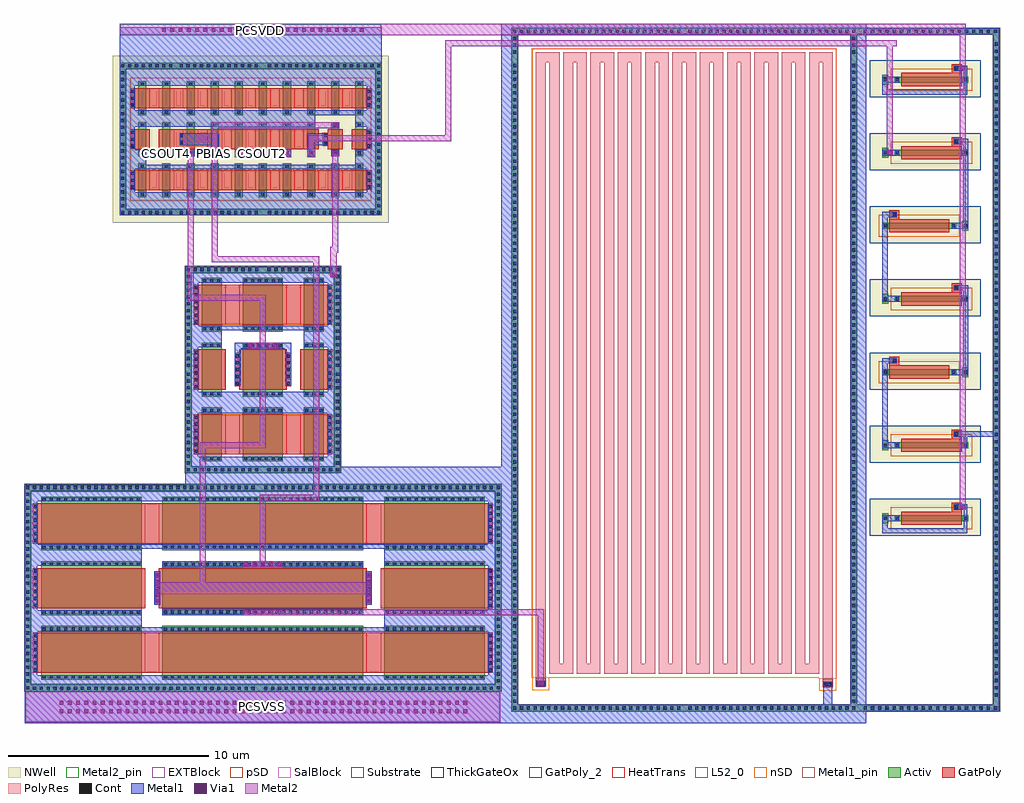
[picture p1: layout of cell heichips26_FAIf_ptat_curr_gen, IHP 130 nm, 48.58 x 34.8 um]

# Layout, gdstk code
from math import pi, radians
import gdstk
lib = gdstk.Library(unit=1e-6, precision=1e-09)
def R(c, l, rs):  # rectangles x0, y0, x1, y1
    for r in rs: c.add(gdstk.rectangle(r[:2], r[2:], *l))
def A(c, l, x, y, w, h, nx, ny, dx, dy):  # array of equal rectangles
    R(c, l, [(x+i*dx, y+j*dy, x+i*dx+w, y+j*dy+h) for i in range(nx) for j in range(ny)])
def P(c, l, *ps):  # polygons
    for p in ps: c.add(gdstk.Polygon(p, *l))
Activ = (1, 0)
GatPoly = (5, 0)
GatPoly_2 = (5, 2)
Cont = (6, 0)
nSD = (7, 0)
Metal1 = (8, 0)
Metal1_pin = (8, 2)
Metal2 = (10, 0)
Metal2_pin = (10, 2)
pSD = (14, 0)
Via1 = (19, 0)
SalBlock = (28, 0)
NWell = (31, 0)
Substrate = (40, 0)
ThickGateOx = (44, 0)
HeatTrans = (51, 0)
L52_0 = (52, 0)
EXTBlock = (111, 0)
PolyRes = (128, 0)

heichips26_faif_ptat_pmo = lib.new_cell('heichips26_FAIf_ptat_pmosHV_w0p3_l3')
R(heichips26_faif_ptat_pmo, Activ, [(0,0,0.3,0.3), (0,0,3.68,0.3), (3.38,0,3.68,0.3)])
R(heichips26_faif_ptat_pmo, GatPoly, [(0.34,-0.18,3.34,0.48)])
R(heichips26_faif_ptat_pmo, GatPoly_2, [(0.34,-0.18,3.34,0.48)])
R(heichips26_faif_ptat_pmo, Cont, [(0.07,0.07,0.23,0.23), (3.45,0.07,3.61,0.23)])
R(heichips26_faif_ptat_pmo, Metal1, [(0.07,0,0.23,0.3), (3.45,0,3.61,0.3)])
R(heichips26_faif_ptat_pmo, Metal1_pin, [(0.07,0,0.23,0.3), (3.45,0,3.61,0.3)])
R(heichips26_faif_ptat_pmo, pSD, [(-0.18,-0.4,3.86,0.7)])
R(heichips26_faif_ptat_pmo, NWell, [(-0.62,-0.62,4.3,0.92)])
R(heichips26_faif_ptat_pmo, Substrate, [(3.38,0,3.68,0.3)])
R(heichips26_faif_ptat_pmo, ThickGateOx, [(-0.62,-0.62,4.3,0.92)])
R(heichips26_faif_ptat_pmo, HeatTrans, [(0.34,-0.18,3.34,0.48)])
heichips26_faif_ptat_pmo.add(gdstk.Label('pmosHV', (1.84,0.15), layer=63, texttype=0))
heichips26_faif_ptat_pmo.add(gdstk.Label('pmos', (1.84,0.15), layer=51, texttype=0))

heichips26_faif_ptat_rhi = lib.new_cell('heichips26_FAIf_ptat_rhigh')
R(heichips26_faif_ptat_rhi, GatPoly, [(14.28,-0.46,14.78,-0.03), (0,-0.43,0.5,0)])
R(heichips26_faif_ptat_rhi, Cont, [(14.35,-0.39,14.71,-0.23), (0.07,-0.36,0.43,-0.2)])
R(heichips26_faif_ptat_rhi, nSD, [(14.1,-0.64,14.96,0.15), (-0.18,-0.61,0.68,0.18), (14.1,-0.03,14.96,0), (14.1,-0.03,14.96,30.635), (-0.18,0,14.96,31.315), (-0.18,0,0.68,30.635)])
R(heichips26_faif_ptat_rhi, Metal1, [(14.3,-0.44,14.76,-0.18), (0.02,-0.41,0.48,-0.15)])
R(heichips26_faif_ptat_rhi, Metal1_pin, [(14.3,-0.44,14.76,-0.18), (0.02,-0.41,0.48,-0.15)])
R(heichips26_faif_ptat_rhi, pSD, [(14.1,-0.64,14.96,0.15), (-0.18,-0.61,0.68,0.18), (14.1,-0.03,14.96,0), (14.1,-0.03,14.96,30.635), (-0.18,0,14.96,31.315), (-0.18,0,0.68,30.635)])
R(heichips26_faif_ptat_rhi, SalBlock, [(14.08,-0.03,14.98,0), (-0.2,0,14.98,31.335)])
A(heichips26_faif_ptat_rhi, L52_0, 0.68, 0.2, 1.18, 0.5, 10, 1, 1.36, 0)
A(heichips26_faif_ptat_rhi, L52_0, 0.68, 0.7, 0.5, 29.935, 20, 1, 0.68, 0)
A(heichips26_faif_ptat_rhi, L52_0, 0, 30.635, 1.18, 0.5, 11, 1, 1.36, 0)
R(heichips26_faif_ptat_rhi, L52_0, [(14.28,-0.03,14.78,30.635), (0,0,0.5,30.635)])
R(heichips26_faif_ptat_rhi, EXTBlock, [(14.1,-0.64,14.96,0.15), (-0.18,-0.61,0.68,0.18), (14.08,-0.03,14.98,0), (-0.2,0,14.98,31.335)])
A(heichips26_faif_ptat_rhi, PolyRes, 0.68, 0.2, 1.18, 0.5, 10, 1, 1.36, 0)
A(heichips26_faif_ptat_rhi, PolyRes, 0.68, 0.7, 0.5, 29.935, 20, 1, 0.68, 0)
A(heichips26_faif_ptat_rhi, PolyRes, 0, 30.635, 1.18, 0.5, 11, 1, 1.36, 0)
R(heichips26_faif_ptat_rhi, PolyRes, [(14.28,-0.03,14.78,30.635), (0,0,0.5,30.635)])
heichips26_faif_ptat_rhi.add(gdstk.Label('rhigh r=1993675.676', (0.25,14.965), layer=63, texttype=0))
heichips26_faif_ptat_rhi.add(gdstk.Label('rhigh', (0.25,15.315), layer=52, texttype=0))
heichips26_faif_ptat_rhi.add(gdstk.Label('rhigh', (0.59,30.885), layer=52, texttype=0))
heichips26_faif_ptat_rhi.add(gdstk.Label('rhigh', (0.93,15.665), layer=52, texttype=0))
heichips26_faif_ptat_rhi.add(gdstk.Label('rhigh', (1.27,0.45), layer=52, texttype=0))
heichips26_faif_ptat_rhi.add(gdstk.Label('rhigh', (1.61,15.665), layer=52, texttype=0))
heichips26_faif_ptat_rhi.add(gdstk.Label('rhigh', (1.95,30.885), layer=52, texttype=0))
heichips26_faif_ptat_rhi.add(gdstk.Label('rhigh', (2.29,15.665), layer=52, texttype=0))
heichips26_faif_ptat_rhi.add(gdstk.Label('rhigh', (2.63,0.45), layer=52, texttype=0))
heichips26_faif_ptat_rhi.add(gdstk.Label('rhigh', (2.97,15.665), layer=52, texttype=0))
heichips26_faif_ptat_rhi.add(gdstk.Label('rhigh', (3.31,30.885), layer=52, texttype=0))
heichips26_faif_ptat_rhi.add(gdstk.Label('rhigh', (3.65,15.665), layer=52, texttype=0))
heichips26_faif_ptat_rhi.add(gdstk.Label('rhigh', (3.99,0.45), layer=52, texttype=0))
heichips26_faif_ptat_rhi.add(gdstk.Label('rhigh', (4.33,15.665), layer=52, texttype=0))
heichips26_faif_ptat_rhi.add(gdstk.Label('rhigh', (4.67,30.885), layer=52, texttype=0))
heichips26_faif_ptat_rhi.add(gdstk.Label('rhigh', (5.01,15.665), layer=52, texttype=0))
heichips26_faif_ptat_rhi.add(gdstk.Label('rhigh', (5.35,0.45), layer=52, texttype=0))
heichips26_faif_ptat_rhi.add(gdstk.Label('rhigh', (5.69,15.665), layer=52, texttype=0))
heichips26_faif_ptat_rhi.add(gdstk.Label('rhigh', (6.03,30.885), layer=52, texttype=0))
heichips26_faif_ptat_rhi.add(gdstk.Label('rhigh', (6.37,15.665), layer=52, texttype=0))
heichips26_faif_ptat_rhi.add(gdstk.Label('rhigh', (6.71,0.45), layer=52, texttype=0))
heichips26_faif_ptat_rhi.add(gdstk.Label('rhigh', (7.05,15.665), layer=52, texttype=0))
heichips26_faif_ptat_rhi.add(gdstk.Label('rhigh', (7.39,30.885), layer=52, texttype=0))
heichips26_faif_ptat_rhi.add(gdstk.Label('rhigh', (7.73,15.665), layer=52, texttype=0))
heichips26_faif_ptat_rhi.add(gdstk.Label('rhigh', (8.07,0.45), layer=52, texttype=0))
heichips26_faif_ptat_rhi.add(gdstk.Label('rhigh', (8.41,15.665), layer=52, texttype=0))
heichips26_faif_ptat_rhi.add(gdstk.Label('rhigh', (8.75,30.885), layer=52, texttype=0))
heichips26_faif_ptat_rhi.add(gdstk.Label('rhigh', (9.09,15.665), layer=52, texttype=0))
heichips26_faif_ptat_rhi.add(gdstk.Label('rhigh', (9.43,0.45), layer=52, texttype=0))
heichips26_faif_ptat_rhi.add(gdstk.Label('rhigh', (9.77,15.665), layer=52, texttype=0))
heichips26_faif_ptat_rhi.add(gdstk.Label('rhigh', (10.11,30.885), layer=52, texttype=0))
heichips26_faif_ptat_rhi.add(gdstk.Label('rhigh', (10.45,15.665), layer=52, texttype=0))
heichips26_faif_ptat_rhi.add(gdstk.Label('rhigh', (10.79,0.45), layer=52, texttype=0))
heichips26_faif_ptat_rhi.add(gdstk.Label('rhigh', (11.13,15.665), layer=52, texttype=0))
heichips26_faif_ptat_rhi.add(gdstk.Label('rhigh', (11.47,30.885), layer=52, texttype=0))
heichips26_faif_ptat_rhi.add(gdstk.Label('rhigh', (11.81,15.665), layer=52, texttype=0))
heichips26_faif_ptat_rhi.add(gdstk.Label('rhigh', (12.15,0.45), layer=52, texttype=0))
heichips26_faif_ptat_rhi.add(gdstk.Label('rhigh', (12.49,15.665), layer=52, texttype=0))
heichips26_faif_ptat_rhi.add(gdstk.Label('rhigh', (12.83,30.885), layer=52, texttype=0))
heichips26_faif_ptat_rhi.add(gdstk.Label('rhigh', (13.17,15.665), layer=52, texttype=0))
heichips26_faif_ptat_rhi.add(gdstk.Label('rhigh', (13.51,0.45), layer=52, texttype=0))
heichips26_faif_ptat_rhi.add(gdstk.Label('rhigh', (13.85,15.665), layer=52, texttype=0))
heichips26_faif_ptat_rhi.add(gdstk.Label('rhigh', (14.19,30.885), layer=52, texttype=0))
heichips26_faif_ptat_rhi.add(gdstk.Label('rhigh', (14.53,15.305), layer=52, texttype=0))

heichips26_faif_ptat_via = lib.new_cell('heichips26_FAIf_ptat_via_stack_5')
R(heichips26_faif_ptat_via, GatPoly, [(-0.15,-0.83,0.15,0.83)])
A(heichips26_faif_ptat_via, Cont, -0.08, -0.76, 0.16, 0.16, 1, 5, 0, 0.34)
R(heichips26_faif_ptat_via, Metal1, [(-0.08,-0.81,0.08,0.81)])

c_heichips26_faif_ptat_via = lib.new_cell('heichips26_FAIf_ptat_via_stack_4')
R(c_heichips26_faif_ptat_via, GatPoly, [(-0.15,-1,0.15,1)])
A(c_heichips26_faif_ptat_via, Cont, -0.08, -0.93, 0.16, 0.16, 1, 6, 0, 0.34)
R(c_heichips26_faif_ptat_via, Metal1, [(-0.08,-0.98,0.08,0.98)])

heichips26_faif_ptat_nmo = lib.new_cell('heichips26_FAIf_ptat_nmosHV_2')
R(heichips26_faif_ptat_nmo, Activ, [(0,0,0.3,0.3), (0,0,2.68,1), (2.38,0,2.68,0.3)])
R(heichips26_faif_ptat_nmo, GatPoly, [(0.34,-0.18,2.34,1.18)])
R(heichips26_faif_ptat_nmo, GatPoly_2, [(0.34,-0.18,2.34,1.18)])
A(heichips26_faif_ptat_nmo, Cont, 0.07, 0.07, 0.16, 0.16, 1, 3, 0, 0.35)
A(heichips26_faif_ptat_nmo, Cont, 2.45, 0.07, 0.16, 0.16, 1, 3, 0, 0.35)
R(heichips26_faif_ptat_nmo, Metal1, [(0.07,0,0.23,1), (2.45,0,2.61,1)])
R(heichips26_faif_ptat_nmo, Metal1_pin, [(0.07,0,0.23,1), (2.45,0,2.61,1)])
R(heichips26_faif_ptat_nmo, ThickGateOx, [(-0.27,-0.52,2.95,1.52)])
R(heichips26_faif_ptat_nmo, HeatTrans, [(0.34,-0.18,2.34,1.18)])
heichips26_faif_ptat_nmo.add(gdstk.Label('nmosHV', (1.34,0.5), layer=63, texttype=0))
heichips26_faif_ptat_nmo.add(gdstk.Label('nmosHV', (1.34,0.5), layer=51, texttype=0))

c_heichips26_faif_ptat_nmo = lib.new_cell('heichips26_FAIf_ptat_nmosHV_1')
R(c_heichips26_faif_ptat_nmo, Activ, [(0,0,0.3,0.3), (0,0,2.68,2), (2.38,0,2.68,0.3)])
R(c_heichips26_faif_ptat_nmo, GatPoly, [(0.34,-0.18,2.34,2.18)])
R(c_heichips26_faif_ptat_nmo, GatPoly_2, [(0.34,-0.18,2.34,2.18)])
A(c_heichips26_faif_ptat_nmo, Cont, 0.07, 0.07, 0.16, 0.16, 1, 6, 0, 0.34)
A(c_heichips26_faif_ptat_nmo, Cont, 2.45, 0.07, 0.16, 0.16, 1, 6, 0, 0.34)
R(c_heichips26_faif_ptat_nmo, Metal1, [(0.07,0,0.23,2), (2.45,0,2.61,2)])
R(c_heichips26_faif_ptat_nmo, Metal1_pin, [(0.07,0,0.23,2), (2.45,0,2.61,2)])
R(c_heichips26_faif_ptat_nmo, ThickGateOx, [(-0.27,-0.52,2.95,2.52)])
R(c_heichips26_faif_ptat_nmo, HeatTrans, [(0.34,-0.18,2.34,2.18)])
c_heichips26_faif_ptat_nmo.add(gdstk.Label('nmosHV', (1.34,1), layer=63, texttype=0))
c_heichips26_faif_ptat_nmo.add(gdstk.Label('nmosHV', (1.34,1), layer=51, texttype=0))

c_heichips26_faif_ptat_via_ = lib.new_cell('heichips26_FAIf_ptat_via_stack_3')
R(c_heichips26_faif_ptat_via_, Metal1, [(-0.145,-0.105,0.145,0.105)])
R(c_heichips26_faif_ptat_via_, Metal2, [(-0.145,-0.1,0.145,0.1)])
R(c_heichips26_faif_ptat_via_, Via1, [(-0.095,-0.095,0.095,0.095)])

c_heichips26_faif_ptat_via__ = lib.new_cell('heichips26_FAIf_ptat_via_stack_1')
R(c_heichips26_faif_ptat_via__, GatPoly, [(-0.15,-0.49,0.15,0.49)])
A(c_heichips26_faif_ptat_via__, Cont, -0.08, -0.42, 0.16, 0.16, 1, 3, 0, 0.34)
R(c_heichips26_faif_ptat_via__, Metal1, [(-0.08,-0.47,0.08,0.47)])

c_heichips26_faif_ptat_pmo = lib.new_cell('heichips26_FAIf_ptat_pmosHV')
R(c_heichips26_faif_ptat_pmo, Activ, [(0,0,0.3,0.3), (0,0,1.68,0.4), (1.38,0,1.68,0.3)])
R(c_heichips26_faif_ptat_pmo, GatPoly, [(0.34,-0.18,1.34,0.58)])
R(c_heichips26_faif_ptat_pmo, GatPoly_2, [(0.34,-0.18,1.34,0.58)])
R(c_heichips26_faif_ptat_pmo, Cont, [(0.07,0.12,0.23,0.28), (1.45,0.12,1.61,0.28)])
R(c_heichips26_faif_ptat_pmo, Metal1, [(0.07,0,0.23,0.4), (1.45,0,1.61,0.4)])
R(c_heichips26_faif_ptat_pmo, Metal1_pin, [(0.07,0,0.23,0.4), (1.45,0,1.61,0.4)])
R(c_heichips26_faif_ptat_pmo, pSD, [(-0.18,-0.4,1.86,0.8)])
R(c_heichips26_faif_ptat_pmo, NWell, [(-0.62,-0.62,2.3,1.02)])
R(c_heichips26_faif_ptat_pmo, Substrate, [(1.38,0,1.68,0.3)])
R(c_heichips26_faif_ptat_pmo, ThickGateOx, [(-0.62,-0.62,2.3,1.02)])
R(c_heichips26_faif_ptat_pmo, HeatTrans, [(0.34,-0.18,1.34,0.58)])
c_heichips26_faif_ptat_pmo.add(gdstk.Label('pmosHV', (0.84,0.2), layer=63, texttype=0))
c_heichips26_faif_ptat_pmo.add(gdstk.Label('pmos', (0.84,0.2), layer=51, texttype=0))

c_heichips26_faif_ptat_via___ = lib.new_cell('heichips26_FAIf_ptat_via_stack_15')
R(c_heichips26_faif_ptat_via___, Metal1, [(-5.065,-0.105,5.065,0.105)])
R(c_heichips26_faif_ptat_via___, Metal2, [(-5.065,-0.1,5.065,0.1)])
A(c_heichips26_faif_ptat_via___, Via1, -5.015, -0.095, 0.19, 0.19, 25, 1, 0.41, 0)

c_heichips26_faif_ptat_via____ = lib.new_cell('heichips26_FAIf_ptat_via_stack_11')
R(c_heichips26_faif_ptat_via____, Metal1, [(-0.76,-0.105,0.76,0.105)])
R(c_heichips26_faif_ptat_via____, Metal2, [(-0.76,-0.1,0.76,0.1)])
A(c_heichips26_faif_ptat_via____, Via1, -0.71, -0.095, 0.19, 0.19, 4, 1, 0.41, 0)

c_heichips26_faif_ptat_via_____ = lib.new_cell('heichips26_FAIf_ptat_via_stack_6')
R(c_heichips26_faif_ptat_via_____, GatPoly, [(-0.15,-0.32,0.15,0.32)])
R(c_heichips26_faif_ptat_via_____, Cont, [(-0.08,-0.25,0.08,-0.09), (-0.08,0.09,0.08,0.25)])
R(c_heichips26_faif_ptat_via_____, Metal1, [(-0.08,-0.3,0.08,0.3)])

c_heichips26_faif_ptat_nmo_ = lib.new_cell('heichips26_FAIf_ptat_nmosHV_4')
R(c_heichips26_faif_ptat_nmo_, Activ, [(0,0,0.3,0.3), (0,0,2.68,5), (2.38,0,2.68,0.3)])
R(c_heichips26_faif_ptat_nmo_, GatPoly, [(0.34,-0.18,2.34,5.18)])
R(c_heichips26_faif_ptat_nmo_, GatPoly_2, [(0.34,-0.18,2.34,5.18)])
A(c_heichips26_faif_ptat_nmo_, Cont, 0.07, 0.07, 0.16, 0.16, 1, 4, 0, 0.36)
A(c_heichips26_faif_ptat_nmo_, Cont, 2.45, 0.07, 0.16, 0.16, 1, 4, 0, 0.36)
A(c_heichips26_faif_ptat_nmo_, Cont, 0.07, 1.515, 0.16, 0.16, 1, 3, 0, 0.36)
A(c_heichips26_faif_ptat_nmo_, Cont, 2.45, 1.515, 0.16, 0.16, 1, 3, 0, 0.36)
A(c_heichips26_faif_ptat_nmo_, Cont, 0.07, 2.6, 0.16, 0.16, 1, 3, 0, 0.36)
A(c_heichips26_faif_ptat_nmo_, Cont, 2.45, 2.6, 0.16, 0.16, 1, 3, 0, 0.36)
A(c_heichips26_faif_ptat_nmo_, Cont, 0.07, 3.685, 0.16, 0.16, 1, 3, 0, 0.36)
A(c_heichips26_faif_ptat_nmo_, Cont, 2.45, 3.685, 0.16, 0.16, 1, 3, 0, 0.36)
R(c_heichips26_faif_ptat_nmo_, Cont, [(0.07,4.77,0.23,4.93), (2.45,4.77,2.61,4.93)])
R(c_heichips26_faif_ptat_nmo_, Metal1, [(0.07,0,0.23,5), (2.45,0,2.61,5)])
R(c_heichips26_faif_ptat_nmo_, Metal1_pin, [(0.07,0,0.23,5), (2.45,0,2.61,5)])
R(c_heichips26_faif_ptat_nmo_, ThickGateOx, [(-0.27,-0.52,2.95,5.52)])
R(c_heichips26_faif_ptat_nmo_, HeatTrans, [(0.34,-0.18,2.34,5.18)])
c_heichips26_faif_ptat_nmo_.add(gdstk.Label('nmosHV', (1.34,2.5), layer=63, texttype=0))
c_heichips26_faif_ptat_nmo_.add(gdstk.Label('nmosHV', (1.34,2.5), layer=51, texttype=0))

c_heichips26_faif_ptat_nmo__ = lib.new_cell('heichips26_FAIf_ptat_nmosHV_3')
R(c_heichips26_faif_ptat_nmo__, Activ, [(0,0,0.3,0.3), (0,0,2.68,10), (2.38,0,2.68,0.3)])
R(c_heichips26_faif_ptat_nmo__, GatPoly, [(0.34,-0.18,2.34,10.18)])
R(c_heichips26_faif_ptat_nmo__, GatPoly_2, [(0.34,-0.18,2.34,10.18)])
A(c_heichips26_faif_ptat_nmo__, Cont, 0.07, 0.07, 0.16, 0.16, 1, 4, 0, 0.345)
A(c_heichips26_faif_ptat_nmo__, Cont, 2.45, 0.07, 0.16, 0.16, 1, 4, 0, 0.345)
A(c_heichips26_faif_ptat_nmo__, Cont, 0.07, 1.455, 0.16, 0.16, 1, 3, 0, 0.345)
A(c_heichips26_faif_ptat_nmo__, Cont, 2.45, 1.455, 0.16, 0.16, 1, 3, 0, 0.345)
A(c_heichips26_faif_ptat_nmo__, Cont, 0.07, 2.495, 0.16, 0.16, 1, 4, 0, 0.345)
A(c_heichips26_faif_ptat_nmo__, Cont, 2.45, 2.495, 0.16, 0.16, 1, 4, 0, 0.345)
A(c_heichips26_faif_ptat_nmo__, Cont, 0.07, 3.88, 0.16, 0.16, 1, 3, 0, 0.345)
A(c_heichips26_faif_ptat_nmo__, Cont, 2.45, 3.88, 0.16, 0.16, 1, 3, 0, 0.345)
A(c_heichips26_faif_ptat_nmo__, Cont, 0.07, 4.92, 0.16, 0.16, 1, 4, 0, 0.345)
A(c_heichips26_faif_ptat_nmo__, Cont, 2.45, 4.92, 0.16, 0.16, 1, 4, 0, 0.345)
A(c_heichips26_faif_ptat_nmo__, Cont, 0.07, 6.305, 0.16, 0.16, 1, 3, 0, 0.345)
A(c_heichips26_faif_ptat_nmo__, Cont, 2.45, 6.305, 0.16, 0.16, 1, 3, 0, 0.345)
A(c_heichips26_faif_ptat_nmo__, Cont, 0.07, 7.345, 0.16, 0.16, 1, 4, 0, 0.345)
A(c_heichips26_faif_ptat_nmo__, Cont, 2.45, 7.345, 0.16, 0.16, 1, 4, 0, 0.345)
A(c_heichips26_faif_ptat_nmo__, Cont, 0.07, 8.73, 0.16, 0.16, 1, 3, 0, 0.345)
A(c_heichips26_faif_ptat_nmo__, Cont, 2.45, 8.73, 0.16, 0.16, 1, 3, 0, 0.345)
R(c_heichips26_faif_ptat_nmo__, Cont, [(0.07,9.77,0.23,9.93), (2.45,9.77,2.61,9.93)])
R(c_heichips26_faif_ptat_nmo__, Metal1, [(0.07,0,0.23,10), (2.45,0,2.61,10)])
R(c_heichips26_faif_ptat_nmo__, Metal1_pin, [(0.07,0,0.23,10), (2.45,0,2.61,10)])
R(c_heichips26_faif_ptat_nmo__, ThickGateOx, [(-0.27,-0.52,2.95,10.52)])
R(c_heichips26_faif_ptat_nmo__, HeatTrans, [(0.34,-0.18,2.34,10.18)])
c_heichips26_faif_ptat_nmo__.add(gdstk.Label('nmosHV', (1.34,5), layer=63, texttype=0))
c_heichips26_faif_ptat_nmo__.add(gdstk.Label('nmosHV', (1.34,5), layer=51, texttype=0))

c_heichips26_faif_ptat_via______ = lib.new_cell('heichips26_FAIf_ptat_via_stack_8')
R(c_heichips26_faif_ptat_via______, Metal1, [(-0.965,-0.105,0.965,0.105)])
R(c_heichips26_faif_ptat_via______, Metal2, [(-0.965,-0.1,0.965,0.1)])
A(c_heichips26_faif_ptat_via______, Via1, -0.915, -0.095, 0.19, 0.19, 5, 1, 0.41, 0)

c_heichips26_faif_ptat_via_______ = lib.new_cell('heichips26_FAIf_ptat_via_stack_16')
R(c_heichips26_faif_ptat_via_______, Metal1, [(-10.19,-0.31,10.19,0.31)])
R(c_heichips26_faif_ptat_via_______, Metal2, [(-10.19,-0.305,10.19,0.305)])
A(c_heichips26_faif_ptat_via_______, Via1, -10.14, -0.3, 0.19, 0.19, 50, 2, 0.41, 0.41)

c_heichips26_faif_ptat_via________ = lib.new_cell('heichips26_FAIf_ptat_via_stack_10')
R(c_heichips26_faif_ptat_via________, Metal1, [(-0.105,-0.76,0.105,0.76)])
R(c_heichips26_faif_ptat_via________, Metal2, [(-0.1,-0.76,0.1,0.76)])
A(c_heichips26_faif_ptat_via________, Via1, -0.095, -0.71, 0.19, 0.19, 1, 4, 0, 0.41)

heichips26_faif_ptat_cur = lib.new_cell('heichips26_FAIf_ptat_curr_gen')
A(heichips26_faif_ptat_cur, Activ, 42.72, 13.58, 0.3, 0.5, 1, 3, 0, 7.28)
R(heichips26_faif_ptat_cur, Activ, [(41.455,0.6,48.55,0.9), (48.25,0.6,48.55,34.58), (24.275,0.9,24.575,34.28), (41.155,0.9,41.455,34.28), (0.03,1.585,23.75,1.615), (0.03,1.915,0.33,11.575), (23.45,1.915,23.75,11.575), (42.72,9.94,43.02,10.44), (0.03,11.575,23.75,11.875), (8.03,12.755,8.33,22.415), (15.45,12.755,15.75,22.415), (46.71,17.22,47.01,17.72), (8.03,22.415,15.75,22.715), (8.03,22.715,15.75,22.725), (46.71,24.5,47.01,25), (4.77,25.565,5.07,32.565), (17.51,25.565,17.81,32.565), (42.72,31.78,43.02,32.28), (4.77,32.565,17.81,32.865), (24.275,34.28,41.455,34.58), (41.455,34.28,48.55,34.58)])
P(heichips26_faif_ptat_cur, Activ, [(4.77,25.265),(4.77,32.565),(5.07,32.565),(5.07,25.565),(17.51,25.565),(17.51,32.565),(4.77,32.565),(4.77,32.865),(17.81,32.865),(17.81,25.265)],
  [(8.03,12.455),(8.03,22.415),(8.33,22.415),(8.33,12.755),(15.45,12.755),(15.45,22.415),(8.03,22.415),(8.03,22.715),(15.75,22.715),(15.75,12.455)],
  [(0.03,1.615),(0.03,11.575),(0.33,11.575),(0.33,1.915),(23.45,1.915),(23.45,11.575),(0.03,11.575),(0.03,11.875),(23.75,11.875),(23.75,1.615)],
  [(24.275,0.6),(24.275,34.28),(24.575,34.28),(24.575,0.9),(41.155,0.9),(41.155,34.28),(24.275,34.28),(24.275,34.58),(41.455,34.58),(41.455,0.6)])
A(heichips26_faif_ptat_cur, GatPoly, 46.17, 14.16, 0.5, 0.44, 1, 3, 0, 7.28)
R(heichips26_faif_ptat_cur, GatPoly, [(6.03,2.495,17.75,4.495), (6.03,8.935,17.75,10.935), (46.17,10.52,46.67,10.96), (10.03,13.375,13.75,15.375), (43.06,17.8,43.56,18.24), (10.03,19.815,13.75,21.815), (43.06,25.08,43.56,25.52), (6.27,26.525,16.31,27.525), (7.47,28.565,7.91,29.565), (8.67,28.565,13.91,29.565), (6.27,30.605,16.31,31.605), (46.17,32.36,46.67,32.8)])
A(heichips26_faif_ptat_cur, Cont, 24.345, 0.67, 0.16, 0.16, 25, 2, 0.34, 33.68)
A(heichips26_faif_ptat_cur, Cont, 33.065, 0.67, 0.16, 0.16, 25, 2, 0.34, 33.68)
A(heichips26_faif_ptat_cur, Cont, 41.795, 0.67, 0.16, 0.16, 19, 2, 0.36, 33.68)
A(heichips26_faif_ptat_cur, Cont, 24.345, 1.01, 0.16, 0.16, 1, 49, 0, 0.34)
A(heichips26_faif_ptat_cur, Cont, 41.225, 1.01, 0.16, 0.16, 1, 49, 0, 0.34)
A(heichips26_faif_ptat_cur, Cont, 48.32, 1.32, 0.16, 0.16, 1, 91, 0, 0.36)
A(heichips26_faif_ptat_cur, Cont, 0.44, 1.655, 0.16, 0.16, 33, 1, 0.34, 0)
A(heichips26_faif_ptat_cur, Cont, 11.96, 1.655, 0.16, 0.16, 34, 1, 0.34, 0)
A(heichips26_faif_ptat_cur, Cont, 0.1, 1.685, 0.16, 0.16, 1, 15, 0, 0.34)
A(heichips26_faif_ptat_cur, Cont, 23.52, 1.685, 0.16, 0.16, 1, 15, 0, 0.34)
A(heichips26_faif_ptat_cur, Cont, 0.1, 6.885, 0.16, 0.16, 1, 14, 0, 0.34)
A(heichips26_faif_ptat_cur, Cont, 23.52, 6.885, 0.16, 0.16, 1, 14, 0, 0.34)
A(heichips26_faif_ptat_cur, Cont, 0.1, 11.645, 0.16, 0.16, 34, 1, 0.34, 0)
A(heichips26_faif_ptat_cur, Cont, 11.96, 11.645, 0.16, 0.16, 35, 1, 0.34, 0)
A(heichips26_faif_ptat_cur, Cont, 8.1, 12.525, 0.16, 0.16, 11, 1, 0.34, 0)
A(heichips26_faif_ptat_cur, Cont, 12.12, 12.525, 0.16, 0.16, 11, 1, 0.34, 0)
A(heichips26_faif_ptat_cur, Cont, 8.1, 12.865, 0.16, 0.16, 1, 14, 0, 0.34)
A(heichips26_faif_ptat_cur, Cont, 15.52, 12.865, 0.16, 0.16, 1, 14, 0, 0.34)
A(heichips26_faif_ptat_cur, Cont, 42.79, 13.75, 0.16, 0.16, 1, 3, 0, 7.28)
A(heichips26_faif_ptat_cur, Cont, 46.34, 14.31, 0.16, 0.16, 1, 3, 0, 7.28)
A(heichips26_faif_ptat_cur, Cont, 24.345, 17.69, 0.16, 0.16, 1, 45, 0, 0.34)
A(heichips26_faif_ptat_cur, Cont, 41.225, 17.69, 0.16, 0.16, 1, 45, 0, 0.34)
A(heichips26_faif_ptat_cur, Cont, 8.1, 17.725, 0.16, 0.16, 1, 15, 0, 0.34)
A(heichips26_faif_ptat_cur, Cont, 15.52, 17.725, 0.16, 0.16, 1, 15, 0, 0.34)
A(heichips26_faif_ptat_cur, Cont, 8.44, 22.495, 0.16, 0.16, 10, 1, 0.34, 0)
A(heichips26_faif_ptat_cur, Cont, 12.12, 22.495, 0.16, 0.16, 10, 1, 0.34, 0)
A(heichips26_faif_ptat_cur, Cont, 4.84, 25.335, 0.16, 0.16, 8, 2, 0.34, 7.3)
A(heichips26_faif_ptat_cur, Cont, 7.74, 25.335, 0.16, 0.16, 12, 2, 0.34, 7.3)
A(heichips26_faif_ptat_cur, Cont, 12.14, 25.335, 0.16, 0.16, 17, 2, 0.34, 7.3)
A(heichips26_faif_ptat_cur, Cont, 4.84, 25.675, 0.16, 0.16, 1, 10, 0, 0.34)
A(heichips26_faif_ptat_cur, Cont, 17.58, 25.675, 0.16, 0.16, 1, 10, 0, 0.34)
A(heichips26_faif_ptat_cur, Cont, 4.84, 29.235, 0.16, 0.16, 1, 10, 0, 0.34)
A(heichips26_faif_ptat_cur, Cont, 17.58, 29.235, 0.16, 0.16, 1, 10, 0, 0.34)
R(heichips26_faif_ptat_cur, Cont, [(42.79,10.11,42.95,10.27), (46.34,10.67,46.5,10.83), (46.78,17.39,46.94,17.55), (43.23,17.95,43.39,18.11), (46.78,24.67,46.94,24.83), (43.23,25.23,43.39,25.39), (42.79,31.95,42.95,32.11), (46.34,32.51,46.5,32.67), (24.345,33.325,24.505,33.485), (41.225,33.325,41.385,33.485), (24.345,33.67,24.505,33.83), (41.225,33.67,41.385,33.83), (24.345,34.01,24.505,34.17), (41.225,34.01,41.385,34.17)])
A(heichips26_faif_ptat_cur, Metal1, 42.73, 13.68, 0.83, 0.3, 1, 3, 0, 7.28)
A(heichips26_faif_ptat_cur, Metal1, 46.78, 13.68, 0.16, 0.84, 1, 3, 0, 7.28)
A(heichips26_faif_ptat_cur, Metal1, 46.29, 14.26, 0.65, 0.26, 1, 3, 0, 7.28)
A(heichips26_faif_ptat_cur, Metal1, 17.07, 26.415, 0.44, 1.22, 1, 3, 0, 2.04)
A(heichips26_faif_ptat_cur, Metal1, 6.89, 28.225, 0.4, 0.3, 8, 1, 1.2, 0)
R(heichips26_faif_ptat_cur, Metal1, [(0.03,0,23.75,1.615), (23.75,0,24.275,11.875), (24.275,0,41.16,0.905), (41.16,0,41.915,34.8), (24.275,0.6,41.455,0.9), (41.915,0.6,48.55,0.9), (48.25,0.6,48.55,34.58), (24.275,0.9,24.575,34.28), (41.155,0.9,41.455,34.28), (39.775,0.905,40.235,1.805), (0.03,1.615,23.75,1.915), (0.03,1.915,0.33,11.575), (0.33,1.915,23.45,2.385), (23.45,1.915,23.75,11.575), (0.33,2.385,0.67,11.045), (23.11,2.385,23.45,11.045), (0.33,4.535,23.45,4.765), (0.33,4.605,5.85,5.605), (17.93,4.605,23.45,5.605), (6.89,5.375,16.89,5.68), (6.48,5.885,6.78,7.545), (17,5.885,17.3,7.545), (6.89,7.755,16.89,8.055), (0.33,7.825,5.85,8.825), (17.93,7.825,23.45,8.825), (0.33,8.665,23.45,8.895), (42.73,9.44,46.94,9.7), (42.73,9.44,42.99,10.04), (46.78,9.44,46.94,10.04), (42.73,10.04,43.56,10.34), (46.78,10.04,46.94,10.88), (46.29,10.62,46.94,10.88), (0.33,11.045,23.45,11.575), (0.03,11.575,23.75,11.875), (8.03,11.875,15.75,12.455), (15.75,11.875,24.275,12.755), (23.75,11.875,24.575,34.8), (8.03,12.455,15.75,12.755), (8.03,12.755,8.33,22.415), (8.33,12.755,15.45,13.265), (15.45,12.755,15.75,22.415), (8.33,13.265,8.67,21.925), (15.11,13.265,15.45,21.925), (42.73,13.68,42.99,18.16), (46.84,14.26,48.4,14.52), (8.33,15.415,15.45,15.645), (8.33,15.485,9.85,16.485), (13.93,15.485,15.45,16.485), (9.85,15.645,13.93,16.485), (42.79,17.32,42.95,18.16), (46.17,17.32,47,17.62), (46.74,17.32,47,21.8), (42.79,17.9,43.44,18.16), (8.33,18.705,9.85,19.705), (13.93,18.705,15.45,19.705), (8.33,19.545,15.45,19.775), (42.73,20.96,42.99,25.44), (8.33,21.925,15.45,22.415), (8.03,22.415,15.75,22.715), (42.79,24.6,42.95,25.44), (46.17,24.6,47,24.9), (46.74,24.6,47,29.08), (42.79,25.18,43.44,25.44), (4.77,25.265,17.81,25.565), (4.77,25.565,5.07,32.565), (5.07,25.565,17.51,26.415), (17.51,25.565,17.81,32.565), (5.07,26.415,5.51,27.565), (5.07,27.565,5.51,28.455), (5.07,27.565,17.51,27.795), (5.51,27.795,6.09,28.295), (16.49,27.795,17.51,28.295), (5.07,28.295,6.09,28.525), (16.49,28.295,17.51,28.525), (5.07,28.455,5.51,29.675), (9.29,28.455,9.69,28.765), (14.09,28.525,14.49,28.765), (7.91,28.765,9.69,29.365), (14.09,28.765,14.95,29.365), (15.29,29.605,15.69,29.905), (5.07,29.675,14.49,30.495), (16.49,29.675,17.51,30.265), (14.49,30.265,17.51,30.495), (5.07,30.495,5.51,31.715), (42.73,31.28,46.94,31.54), (42.73,31.28,42.99,31.88), (46.78,31.28,46.94,31.88), (5.07,31.715,17.51,32.565), (42.73,31.88,43.56,32.18), (46.78,31.88,46.94,32.72), (46.29,32.46,46.94,32.72), (4.77,32.565,17.81,32.865), (4.77,32.865,17.81,33.215), (4.77,33.215,17.81,34.64), (24.275,34.28,41.455,34.58), (24.575,34.28,41.16,34.8), (41.915,34.28,48.55,34.58)])
A(heichips26_faif_ptat_cur, Metal2, 9.29, 28.175, 0.4, 0.4, 5, 1, 1.2, 0)
R(heichips26_faif_ptat_cur, Metal2, [(0.065,0.035,23.715,1.585), (6.725,6.415,17.055,7.015), (10.925,7.755,12.855,8.055), (46.585,10.65,46.875,34.8), (11.13,18.635,12.65,18.935), (6.89,28.175,7.29,28.575), (42.955,28.29,43.245,33.985), (4.775,34.23,41.915,34.8), (41.915,34.23,46.875,34.8)])
A(heichips26_faif_ptat_cur, Metal2_pin, 9.295, 28.18, 0.39, 0.39, 4, 1, 1.2, 0)
R(heichips26_faif_ptat_cur, Metal2_pin, [(0.095,0.065,23.68,1.56), (6.895,28.18,7.285,28.57), (4.79,34.255,17.79,34.785)])
R(heichips26_faif_ptat_cur, pSD, [(41.485,0.57,48.58,0.93), (48.22,0.57,48.58,34.61), (24.245,0.93,24.605,34.25), (41.125,0.93,41.485,34.25), (0,1.555,23.78,1.585), (0,1.945,0.36,11.545), (23.42,1.945,23.78,11.545), (0,11.545,23.78,11.905), (8,12.785,8.36,22.385), (15.42,12.785,15.78,22.385), (8,22.385,15.78,22.745), (8,22.745,15.78,22.755), (24.245,34.25,41.485,34.61), (41.485,34.25,48.58,34.61)])
P(heichips26_faif_ptat_cur, pSD, [(8,12.425),(8,22.385),(8.36,22.385),(8.36,12.785),(15.42,12.785),(15.42,22.385),(8,22.385),(8,22.745),(15.78,22.745),(15.78,12.425)],
  [(0,1.585),(0,11.545),(0.36,11.545),(0.36,1.945),(23.42,1.945),(23.42,11.545),(0,11.545),(0,11.905),(23.78,11.905),(23.78,1.585)],
  [(24.245,0.57),(24.245,34.25),(24.605,34.25),(24.605,0.93),(41.125,0.93),(41.125,34.25),(24.245,34.25),(24.245,34.61),(41.485,34.61),(41.485,0.57)])
A(heichips26_faif_ptat_cur, NWell, 42.1, 9.32, 5.53, 1.84, 1, 7, 0, 3.64)
R(heichips26_faif_ptat_cur, NWell, [(4.42,24.915,18.16,33.215)])
R(heichips26_faif_ptat_cur, Substrate, [(41.485,0.57,48.58,0.93), (48.22,0.57,48.58,34.61), (24.245,0.93,24.605,34.25), (41.125,0.93,41.485,34.25), (0,1.945,0.36,11.545), (23.42,1.945,23.78,11.545), (0,11.545,23.78,11.905), (8,12.785,8.36,22.385), (15.42,12.785,15.78,22.385), (8,22.385,15.78,22.745), (24.245,34.25,41.485,34.61), (41.485,34.25,48.58,34.61)])
P(heichips26_faif_ptat_cur, Substrate, [(8,12.425),(8,22.385),(8.36,22.385),(8.36,12.785),(15.42,12.785),(15.42,22.385),(8,22.385),(8,22.745),(15.78,22.745),(15.78,12.425)],
  [(0,1.585),(0,11.545),(0.36,11.545),(0.36,1.945),(23.42,1.945),(23.42,11.545),(0,11.545),(0,11.905),(23.78,11.905),(23.78,1.585)],
  [(24.245,0.57),(24.245,34.25),(24.605,34.25),(24.605,0.93),(41.125,0.93),(41.125,34.25),(24.245,34.25),(24.245,34.61),(41.485,34.61),(41.485,0.57)])
A(heichips26_faif_ptat_cur, ThickGateOx, 42.1, 9.32, 5.53, 1.84, 1, 7, 0, 3.64)
heichips26_faif_ptat_cur.add(gdstk.FlexPath([(10.89,18.785),(10.63,18.785),(10.63,16.785)], 0.3, ends="flush", simple_path=True, layer=8, datatype=0))  # Metal1
heichips26_faif_ptat_cur.add(gdstk.FlexPath([(12.89,18.785),(13.15,18.785),(13.15,16.785)], 0.3, ends="flush", simple_path=True, layer=8, datatype=0))  # Metal1
heichips26_faif_ptat_cur.add(gdstk.FlexPath([(10.89,18.785),(12.89,18.785)], 0.3, ends="flush", simple_path=True, layer=8, datatype=0))  # Metal1
heichips26_faif_ptat_cur.add(gdstk.FlexPath([(15.63,29.755),(9.49,29.755),(9.49,28.525)], 0.3, ends="flush", simple_path=True, layer=10, datatype=0))  # Metal2
heichips26_faif_ptat_cur.add(gdstk.FlexPath([(11.89,18.935),(11.89,21.18),(8.29,21.18),(8.29,28.525)], 0.3, ends="flush", simple_path=True, layer=10, datatype=0))  # Metal2
heichips26_faif_ptat_cur.add(gdstk.FlexPath([(9.49,28.525),(9.49,23.09),(14.535,23.09),(14.535,11.205),(11.89,11.205),(11.89,8.055)], 0.3, ends="flush", simple_path=True, layer=10, datatype=0))  # Metal2
heichips26_faif_ptat_cur.add(gdstk.FlexPath([(11.89,18.635),(11.89,13.825),(8.89,13.825),(8.89,7.015)], 0.3, ends="flush", simple_path=True, layer=10, datatype=0))  # Metal2
heichips26_faif_ptat_cur.add(gdstk.FlexPath([(10.925,5.525),(25.725,5.525),(25.725,1.86)], 0.3, ends="flush", simple_path=True, layer=10, datatype=0))  # Metal2
heichips26_faif_ptat_cur.add(gdstk.FlexPath([(15.405,22.18),(15.405,23.565),(15.49,23.565),(15.49,28.485)], 0.3, ends="flush", simple_path=True, layer=10, datatype=0))  # Metal2
heichips26_faif_ptat_cur.add(gdstk.FlexPath([(14.29,28.18),(14.29,29.12),(21.125,29.12),(21.125,33.835),(43.45,33.835)], 0.3, ends="flush", simple_path=True, layer=10, datatype=0))  # Metal2
heichips26_faif_ptat_cur.add(gdstk.Reference(heichips26_faif_ptat_pmo, (46.4,17.32), rotation=pi, x_reflection=True))
heichips26_faif_ptat_cur.add(gdstk.Reference(heichips26_faif_ptat_rhi, (25.475,2.245)))
heichips26_faif_ptat_cur.add(gdstk.Reference(heichips26_faif_ptat_via, (13.15,17.595)))
heichips26_faif_ptat_cur.add(gdstk.Reference(heichips26_faif_ptat_via, (10.63,17.595)))
heichips26_faif_ptat_cur.add(gdstk.Reference(c_heichips26_faif_ptat_via, (8.59,17.595)))
heichips26_faif_ptat_cur.add(gdstk.Reference(c_heichips26_faif_ptat_via, (15.19,17.595)))
heichips26_faif_ptat_cur.add(gdstk.Reference(heichips26_faif_ptat_nmo, (13.93,18.935), rotation=3*pi/2))
heichips26_faif_ptat_cur.add(gdstk.Reference(heichips26_faif_ptat_nmo, (8.85,18.935), rotation=3*pi/2))
heichips26_faif_ptat_cur.add(gdstk.Reference(c_heichips26_faif_ptat_nmo, (10.89,18.935), rotation=3*pi/2))
heichips26_faif_ptat_cur.add(gdstk.Reference(heichips26_faif_ptat_pmo, (43.33,20.96)))
heichips26_faif_ptat_cur.add(gdstk.Reference(heichips26_faif_ptat_pmo, (43.33,31.88)))
heichips26_faif_ptat_cur.add(gdstk.Reference(heichips26_faif_ptat_pmo, (43.33,28.24)))
heichips26_faif_ptat_cur.add(gdstk.Reference(heichips26_faif_ptat_pmo, (46.4,24.6), rotation=pi, x_reflection=True))
heichips26_faif_ptat_cur.add(gdstk.Reference(c_heichips26_faif_ptat_via_, (43.1,28.39)))
heichips26_faif_ptat_cur.add(gdstk.Reference(c_heichips26_faif_ptat_via_, (46.73,32.59)))
heichips26_faif_ptat_cur.add(gdstk.Reference(c_heichips26_faif_ptat_via, (15.19,20.815)))
heichips26_faif_ptat_cur.add(gdstk.Reference(c_heichips26_faif_ptat_via__, (5.43,27.025)))
heichips26_faif_ptat_cur.add(gdstk.Reference(c_heichips26_faif_ptat_via__, (5.43,29.065)))
heichips26_faif_ptat_cur.add(gdstk.Reference(c_heichips26_faif_ptat_via__, (5.43,31.105)))
heichips26_faif_ptat_cur.add(gdstk.Reference(c_heichips26_faif_ptat_via__, (17.15,31.105), rotation=pi, x_reflection=True))
heichips26_faif_ptat_cur.add(gdstk.Reference(c_heichips26_faif_ptat_via__, (17.15,29.065), rotation=pi, x_reflection=True))
heichips26_faif_ptat_cur.add(gdstk.Reference(c_heichips26_faif_ptat_via__, (17.15,27.025), rotation=pi, x_reflection=True))
heichips26_faif_ptat_cur.add(gdstk.Reference(c_heichips26_faif_ptat_pmo, (16.49,27.865), rotation=3*pi/2))
heichips26_faif_ptat_cur.add(gdstk.Reference(c_heichips26_faif_ptat_pmo, (12.89,27.865), rotation=3*pi/2))
heichips26_faif_ptat_cur.add(gdstk.Reference(c_heichips26_faif_ptat_pmo, (16.49,31.945), rotation=3*pi/2))
heichips26_faif_ptat_cur.add(gdstk.Reference(c_heichips26_faif_ptat_pmo, (16.49,29.905), rotation=3*pi/2))
heichips26_faif_ptat_cur.add(gdstk.Reference(c_heichips26_faif_ptat_pmo, (15.29,27.865), rotation=3*pi/2))
heichips26_faif_ptat_cur.add(gdstk.Reference(c_heichips26_faif_ptat_pmo, (14.09,27.865), rotation=3*pi/2))
heichips26_faif_ptat_cur.add(gdstk.Reference(c_heichips26_faif_ptat_pmo, (11.69,27.865), rotation=3*pi/2))
heichips26_faif_ptat_cur.add(gdstk.Reference(c_heichips26_faif_ptat_pmo, (14.09,31.945), rotation=3*pi/2))
heichips26_faif_ptat_cur.add(gdstk.Reference(c_heichips26_faif_ptat_pmo, (10.49,27.865), rotation=3*pi/2))
heichips26_faif_ptat_cur.add(gdstk.Reference(c_heichips26_faif_ptat_pmo, (9.29,27.865), rotation=3*pi/2))
heichips26_faif_ptat_cur.add(gdstk.Reference(c_heichips26_faif_ptat_pmo, (8.09,27.865), rotation=3*pi/2))
heichips26_faif_ptat_cur.add(gdstk.Reference(c_heichips26_faif_ptat_pmo, (15.29,31.945), rotation=3*pi/2))
heichips26_faif_ptat_cur.add(gdstk.Reference(c_heichips26_faif_ptat_pmo, (6.89,27.865), rotation=3*pi/2))
heichips26_faif_ptat_cur.add(gdstk.Reference(c_heichips26_faif_ptat_pmo, (6.89,29.905), rotation=3*pi/2))
heichips26_faif_ptat_cur.add(gdstk.Reference(c_heichips26_faif_ptat_pmo, (6.89,31.945), rotation=3*pi/2))
heichips26_faif_ptat_cur.add(gdstk.Reference(c_heichips26_faif_ptat_pmo, (5.69,31.945), rotation=3*pi/2))
heichips26_faif_ptat_cur.add(gdstk.Reference(c_heichips26_faif_ptat_pmo, (12.89,29.905), rotation=3*pi/2))
heichips26_faif_ptat_cur.add(gdstk.Reference(c_heichips26_faif_ptat_pmo, (11.69,29.905), rotation=3*pi/2))
heichips26_faif_ptat_cur.add(gdstk.Reference(c_heichips26_faif_ptat_pmo, (14.09,29.905), rotation=3*pi/2))
heichips26_faif_ptat_cur.add(gdstk.Reference(c_heichips26_faif_ptat_pmo, (15.29,29.905), rotation=3*pi/2))
heichips26_faif_ptat_cur.add(gdstk.Reference(c_heichips26_faif_ptat_pmo, (8.09,31.945), rotation=3*pi/2))
heichips26_faif_ptat_cur.add(gdstk.Reference(c_heichips26_faif_ptat_pmo, (9.29,31.945), rotation=3*pi/2))
heichips26_faif_ptat_cur.add(gdstk.Reference(c_heichips26_faif_ptat_pmo, (10.49,31.945), rotation=3*pi/2))
heichips26_faif_ptat_cur.add(gdstk.Reference(c_heichips26_faif_ptat_pmo, (5.69,27.865), rotation=3*pi/2))
heichips26_faif_ptat_cur.add(gdstk.Reference(c_heichips26_faif_ptat_pmo, (5.69,29.905), rotation=3*pi/2))
heichips26_faif_ptat_cur.add(gdstk.Reference(c_heichips26_faif_ptat_pmo, (11.69,31.945), rotation=3*pi/2))
heichips26_faif_ptat_cur.add(gdstk.Reference(c_heichips26_faif_ptat_pmo, (12.89,31.945), rotation=3*pi/2))
heichips26_faif_ptat_cur.add(gdstk.Reference(c_heichips26_faif_ptat_pmo, (8.09,29.905), rotation=3*pi/2))
heichips26_faif_ptat_cur.add(gdstk.Reference(c_heichips26_faif_ptat_pmo, (10.49,29.905), rotation=3*pi/2))
heichips26_faif_ptat_cur.add(gdstk.Reference(c_heichips26_faif_ptat_pmo, (9.29,29.905), rotation=3*pi/2))
heichips26_faif_ptat_cur.add(gdstk.Reference(heichips26_faif_ptat_nmo, (13.93,22.155), rotation=3*pi/2))
heichips26_faif_ptat_cur.add(gdstk.Reference(heichips26_faif_ptat_nmo, (8.85,22.155), rotation=3*pi/2))
heichips26_faif_ptat_cur.add(gdstk.Reference(c_heichips26_faif_ptat_via___, (11.89,34.495)))
heichips26_faif_ptat_cur.add(gdstk.Reference(c_heichips26_faif_ptat_via____, (11.89,18.785)))
heichips26_faif_ptat_cur.add(gdstk.Reference(c_heichips26_faif_ptat_via_____, (7.83,29.065)))
heichips26_faif_ptat_cur.add(gdstk.Reference(c_heichips26_faif_ptat_nmo, (10.89,22.155), rotation=3*pi/2))
heichips26_faif_ptat_cur.add(gdstk.Reference(c_heichips26_faif_ptat_via_, (7.09,28.375)))
heichips26_faif_ptat_cur.add(gdstk.Reference(c_heichips26_faif_ptat_via_, (15.49,28.375)))
heichips26_faif_ptat_cur.add(gdstk.Reference(c_heichips26_faif_ptat_via_, (8.29,28.375)))
heichips26_faif_ptat_cur.add(gdstk.Reference(c_heichips26_faif_ptat_via_, (9.49,28.375)))
heichips26_faif_ptat_cur.add(gdstk.Reference(c_heichips26_faif_ptat_via_, (10.69,28.375)))
heichips26_faif_ptat_cur.add(gdstk.Reference(c_heichips26_faif_ptat_via_, (11.89,28.375)))
heichips26_faif_ptat_cur.add(gdstk.Reference(c_heichips26_faif_ptat_via_, (13.09,28.375)))
heichips26_faif_ptat_cur.add(gdstk.Reference(c_heichips26_faif_ptat_via_, (14.29,28.375)))
heichips26_faif_ptat_cur.add(gdstk.Reference(c_heichips26_faif_ptat_via_, (15.49,29.755)))
heichips26_faif_ptat_cur.add(gdstk.Reference(c_heichips26_faif_ptat_via_, (15.405,22.28)))
heichips26_faif_ptat_cur.add(gdstk.Reference(c_heichips26_faif_ptat_via_____, (15.03,29.065)))
heichips26_faif_ptat_cur.add(gdstk.Reference(c_heichips26_faif_ptat_via, (8.59,20.815)))
heichips26_faif_ptat_cur.add(gdstk.Reference(c_heichips26_faif_ptat_nmo_, (0.85,11.275), rotation=3*pi/2))
heichips26_faif_ptat_cur.add(gdstk.Reference(c_heichips26_faif_ptat_nmo_, (0.85,4.835), rotation=3*pi/2))
heichips26_faif_ptat_cur.add(gdstk.Reference(c_heichips26_faif_ptat_nmo_, (17.93,11.275), rotation=3*pi/2))
heichips26_faif_ptat_cur.add(gdstk.Reference(c_heichips26_faif_ptat_nmo__, (6.89,4.835), rotation=3*pi/2))
heichips26_faif_ptat_cur.add(gdstk.Reference(c_heichips26_faif_ptat_nmo__, (6.89,8.055), rotation=3*pi/2))
heichips26_faif_ptat_cur.add(gdstk.Reference(c_heichips26_faif_ptat_nmo__, (6.89,11.275), rotation=3*pi/2))
heichips26_faif_ptat_cur.add(gdstk.Reference(c_heichips26_faif_ptat_via, (0.59,6.715)))
heichips26_faif_ptat_cur.add(gdstk.Reference(c_heichips26_faif_ptat_via, (23.19,3.495)))
heichips26_faif_ptat_cur.add(gdstk.Reference(heichips26_faif_ptat_nmo, (13.93,15.715), rotation=3*pi/2))
heichips26_faif_ptat_cur.add(gdstk.Reference(heichips26_faif_ptat_nmo, (8.85,15.715), rotation=3*pi/2))
heichips26_faif_ptat_cur.add(gdstk.Reference(c_heichips26_faif_ptat_via, (23.19,6.715)))
heichips26_faif_ptat_cur.add(gdstk.Reference(c_heichips26_faif_ptat_via, (23.19,9.935)))
heichips26_faif_ptat_cur.add(gdstk.Reference(c_heichips26_faif_ptat_via, (0.59,3.495)))
heichips26_faif_ptat_cur.add(gdstk.Reference(c_heichips26_faif_ptat_via______, (11.89,5.525)))
heichips26_faif_ptat_cur.add(gdstk.Reference(c_heichips26_faif_ptat_nmo, (10.89,15.715), rotation=3*pi/2))
heichips26_faif_ptat_cur.add(gdstk.Reference(c_heichips26_faif_ptat_via_______, (11.915,0.8)))
heichips26_faif_ptat_cur.add(gdstk.Reference(c_heichips26_faif_ptat_via________, (6.63,6.715)))
heichips26_faif_ptat_cur.add(gdstk.Reference(heichips26_faif_ptat_via, (6.63,6.715)))
heichips26_faif_ptat_cur.add(gdstk.Reference(heichips26_faif_ptat_via, (17.15,6.715)))
heichips26_faif_ptat_cur.add(gdstk.Reference(c_heichips26_faif_ptat_via________, (17.15,6.715)))
heichips26_faif_ptat_cur.add(gdstk.Reference(c_heichips26_faif_ptat_via______, (11.89,7.905)))
heichips26_faif_ptat_cur.add(gdstk.Reference(c_heichips26_faif_ptat_via, (8.59,14.375)))
heichips26_faif_ptat_cur.add(gdstk.Reference(c_heichips26_faif_ptat_via, (15.19,14.375)))
heichips26_faif_ptat_cur.add(gdstk.Reference(c_heichips26_faif_ptat_via, (0.59,9.935)))
heichips26_faif_ptat_cur.add(gdstk.Reference(c_heichips26_faif_ptat_nmo_, (17.93,4.835), rotation=3*pi/2))
heichips26_faif_ptat_cur.add(gdstk.Reference(c_heichips26_faif_ptat_nmo_, (0.85,8.055), rotation=3*pi/2))
heichips26_faif_ptat_cur.add(gdstk.Reference(c_heichips26_faif_ptat_nmo_, (17.93,8.055), rotation=3*pi/2))
heichips26_faif_ptat_cur.add(gdstk.Reference(heichips26_faif_ptat_pmo, (43.33,10.04)))
heichips26_faif_ptat_cur.add(gdstk.Reference(heichips26_faif_ptat_pmo, (43.33,13.68)))
heichips26_faif_ptat_cur.add(gdstk.Reference(c_heichips26_faif_ptat_via_, (25.725,1.965)))
heichips26_faif_ptat_cur.add(gdstk.Reference(c_heichips26_faif_ptat_via_, (46.73,10.75)))
heichips26_faif_ptat_cur.add(gdstk.Label('CSOUT4', (7.09,28.375), layer=10, texttype=25))
heichips26_faif_ptat_cur.add(gdstk.Label('PBIAS', (9.49,28.375), layer=10, texttype=25))
heichips26_faif_ptat_cur.add(gdstk.Label('PCSVDD', (11.795,34.495), layer=10, texttype=25))
heichips26_faif_ptat_cur.add(gdstk.Label('CSOUT1', (10.69,28.375), layer=10, texttype=25))
heichips26_faif_ptat_cur.add(gdstk.Label('CSOUT2', (11.89,28.375), layer=10, texttype=25))
heichips26_faif_ptat_cur.add(gdstk.Label('CSOUT3', (13.09,28.375), layer=10, texttype=25))
heichips26_faif_ptat_cur.add(gdstk.Label('PCSVSS', (11.89,0.835), layer=10, texttype=25))

lib.write_gds('heichips26_FAIf_ptat_curr_gen.gds')
